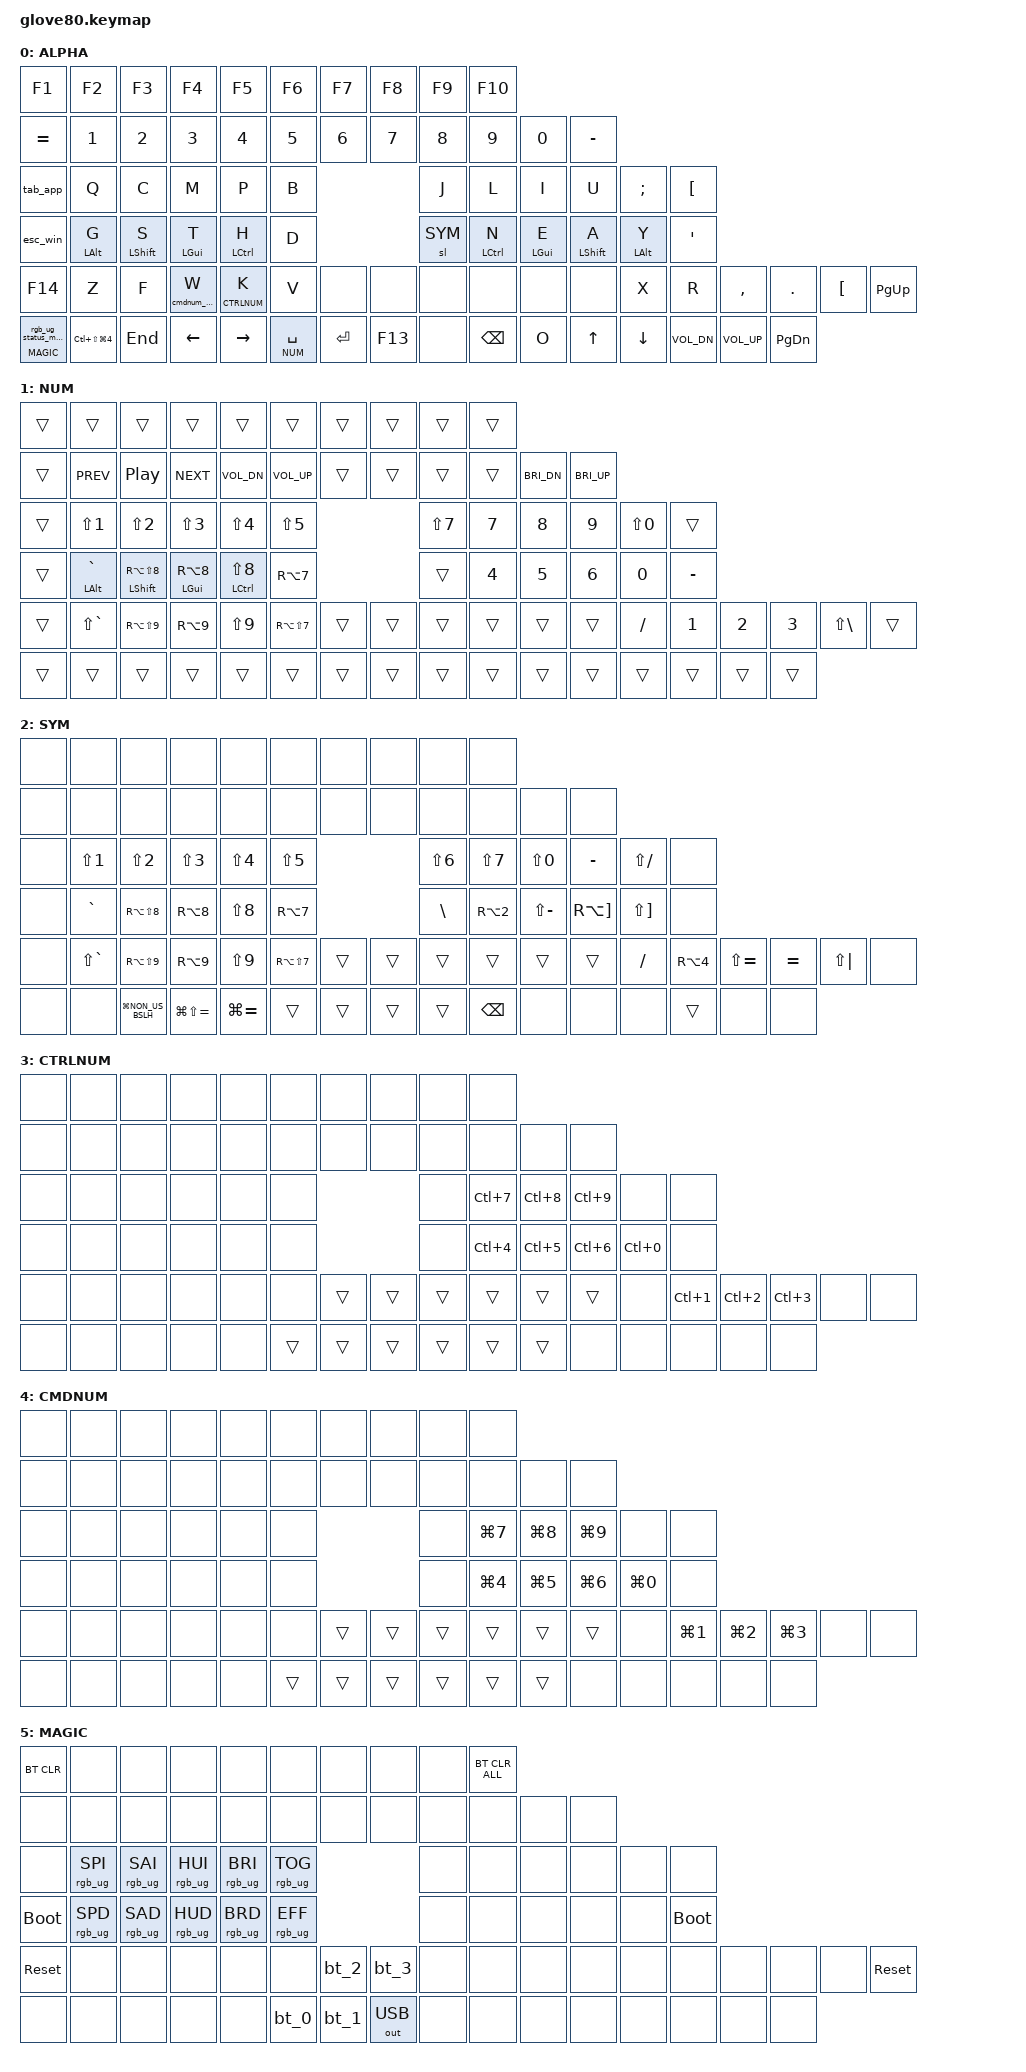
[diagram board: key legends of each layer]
/*
* Copyright (c) 2020 The ZMK Contributors
* Copyright (c) 2025 Innaworks Development Limited, trading as MoErgo
*
* SPDX-License-Identifier: MIT
*/


/* THIS FILE WAS GENERATED BY GLOVE80 LAYOUT EDITOR
*
* This file was generated automatically. You may or may not want to
* edit it directly.
*/

#include <behaviors.dtsi>
/* Include all behavior includes needed */
#include <dt-bindings/zmk/outputs.h>
#include <dt-bindings/zmk/keys.h>
#include <dt-bindings/zmk/bt.h>
#include <dt-bindings/zmk/rgb.h>

#define KSFT 57
#define KDOT 61
#define KCOMMA 60
#define KMINUS 58
#define KA 43
#define KB 27
#define KC 24
#define KD 39
#define KE 42
#define KF 48
#define KG 35
#define KH 38
#define KI 30
#define KJ 28
#define KK 50
#define KL 29
#define KM 25
#define KN 41
#define KO 74
#define KAUML 45
#define KP 26
#define KQ 23
#define KR 59
#define KS 36
#define KT 37
#define KU 31
#define KV 51
#define KW 49
#define KX 58
#define KY 44
#define KOUML 32
#define KARING 33
#define KZ 47
#define ARROWL 67 
#define ARROWR 68
#define KSPACE 69
#define KBSPC 73
#define KBSPC2 73
#define KDUP 74
#define KAPOS 999999

/* Automatically generated layer name #define */
#define ALPHA 0
#define NUM 1
#define SYM 2
#define CTRLNUM 3
#define CMDNUM 4
#define MAGIC 5

/* To deal with the situation where there is no Lower layer, to keep &lower happy */
#ifndef LAYER_Lower
#define LAYER_Lower 0
#endif

/* #define for key positions */
#define POS_LH_T2 53
#define POS_LH_T1 52
#define POS_LH_T3 54
#define POS_LH_T4 69
#define POS_LH_T5 70
#define POS_LH_T6 71
#define POS_LH_C1R2 15
#define POS_LH_C1R3 27
#define POS_LH_C1R4 39
#define POS_LH_C1R5 51
#define POS_LH_C2R1 4
#define POS_LH_C2R2 14
#define POS_LH_C2R3 26
#define POS_LH_C2R4 38
#define POS_LH_C2R5 50
#define POS_LH_C2R6 68
#define POS_LH_C3R1 3
#define POS_LH_C3R2 13
#define POS_LH_C3R3 25
#define POS_LH_C3R4 37
#define POS_LH_C3R5 49
#define POS_LH_C3R6 67
#define POS_LH_C4R1 2
#define POS_LH_C4R2 12
#define POS_LH_C4R3 24
#define POS_LH_C4R4 36
#define POS_LH_C4R5 48
#define POS_LH_C4R6 66
#define POS_LH_C5R1 1
#define POS_LH_C5R2 11
#define POS_LH_C5R3 23
#define POS_LH_C5R4 35
#define POS_LH_C5R5 47
#define POS_LH_C5R6 65
#define POS_LH_C6R1 0
#define POS_LH_C6R2 10
#define POS_LH_C6R3 22
#define POS_LH_C6R4 34
#define POS_LH_C6R5 46
#define POS_LH_C6R6 64
#define POS_RH_T1 57
#define POS_RH_T2 56
#define POS_RH_T3 55
#define POS_RH_T4 74
#define POS_RH_T5 73
#define POS_RH_T6 72
#define POS_RH_C1R2 16
#define POS_RH_C1R3 28
#define POS_RH_C1R4 40
#define POS_RH_C1R5 58
#define POS_RH_C2R1 5
#define POS_RH_C2R2 17
#define POS_RH_C2R3 29
#define POS_RH_C2R4 41
#define POS_RH_C2R5 59
#define POS_RH_C2R6 75
#define POS_RH_C3R1 6
#define POS_RH_C3R2 18
#define POS_RH_C3R3 30
#define POS_RH_C3R4 42
#define POS_RH_C3R5 60
#define POS_RH_C3R6 76
#define POS_RH_C4R1 7
#define POS_RH_C4R2 19
#define POS_RH_C4R3 31
#define POS_RH_C4R4 43
#define POS_RH_C4R5 61
#define POS_RH_C4R6 77
#define POS_RH_C5R1 8
#define POS_RH_C5R2 20
#define POS_RH_C5R3 32
#define POS_RH_C5R4 44
#define POS_RH_C5R5 62
#define POS_RH_C5R6 78
#define POS_RH_C6R1 9
#define POS_RH_C6R2 21
#define POS_RH_C6R3 33
#define POS_RH_C6R4 45
#define POS_RH_C6R5 63
#define POS_RH_C6R6 79


/* Physical positions: independent of whichever letters occupy these keys. */
#define HRM_LEFT_TARGETS 0 1 2 3 4 10 11 12 13 14 15 22 23 24 25 26 27 34 35 36 37 38 39 46 47 48 49 50 51 52 53 54 64 65 66 67 68 69 70 71
#define HRM_RIGHT_TARGETS 5 6 7 8 9 16 17 18 19 20 21 28 29 30 31 32 33 40 41 42 43 44 45 55 56 57 58 59 60 61 62 63 72 73 74 75 76 77 78 79

/* Time to select a symbol after releasing the one-shot key. */
&sl {
    release-after-ms = <2000>;
};

/ {
    underglow {
        compatible = "zmk,underglow";

        // Optional: default color when no layer is active
        color = <32 32 32>;  // Soft white or dim gray

        // Per-layer colors: layer 1 = green, layer 2 = blue
        layer-colors = <0 0 255>, <0 255 0>;
    };

    behaviors {
        // Cmd+Tab -> Alt+Tab (AeroSpace "next window on this desktop"; Karabiner
        // disables real Cmd+Tab). Cmd is swallowed, Shift passes through for reverse.
        tab_app: tab_app_switch {
            compatible = "zmk,behavior-mod-morph";
            #binding-cells = <0>;
            bindings = <&kp TAB>, <&kp LA(TAB)>;
            mods = <(MOD_LGUI|MOD_RGUI)>;
        };

        // Cmd+Esc -> Cmd+´ (macOS "next window of the same app"; ZMK EQUAL is the
        // ´ key on the Swedish layout). Cmd is kept; Shift passes through for reverse.
        // Space: tap = Space (Cmd+Space is plain: T3 threads on NixOS), hold = NUM. Holds only after a
        // short pause and only when the next key is one NUM uses (numpad, left-hand
        // symbols, media, brightness, thumbs), so typing never triggers it; retro-tap keeps a long
        // lone press a space. quick-tap 0: tap Space then hold it for a number works.
        lt_spc: layer_tap_space {
            compatible = "zmk,behavior-hold-tap";
            #binding-cells = <2>;
            flavor = "balanced";
            tapping-term-ms = <200>;
            quick-tap-ms = <0>;
            require-prior-idle-ms = <100>;
            retro-tap;
            bindings = <&mo>, <&kp>;
            hold-trigger-key-positions = <28 29 30 31 32 33 40 41 42 43 44 45 58 59 60 61 62 63 73 74 20 21 11 12 13 14 15 23 24 25 26 27 35 36 37 38 39 47 48 49 50 51>;
        };
        esc_win: esc_window_switch {
            compatible = "zmk,behavior-mod-morph";
            #binding-cells = <0>;
            bindings = <&kp ESC>, <&kp EQUAL>;
            mods = <(MOD_LGUI|MOD_RGUI)>;
            keep-mods = <(MOD_LGUI|MOD_RGUI)>;
        };

         mt_shift_caps: behavior_hold_tap {
            compatible = "zmk,behavior-hold-tap";
            #binding-cells = <2>;
            flavor = "balanced";
            require-prior-idle-ms = <150>;
            tapping-term-ms = <280>;
            quick-tap-ms = <175>;
            bindings = <&kp >, <&caps_word>;
        };

         ltl: layer_tap_left {
            compatible = "zmk,behavior-hold-tap";
            #binding-cells = <2>;
            // Balanced: a typing roll releases this key first, which forces a tap.
            // hold-preferred fired the layer on the NEXT key's press, so r->s hit Ctrl+2.
            flavor = "balanced";
            require-prior-idle-ms = <200>;
            tapping-term-ms = <200>;
            quick-tap-ms = <0>;
            bindings = <&mo>, <&kp>;
            // The right-hand numpad in CMDNUM/CTRLNUM.
            hold-trigger-key-positions = <29 30 31 41 42 43 44 59 60 61>;
        };

        // W: like ltl, but the hold also holds Cmd, so apps show their Cmd+digit
        // hints (T3 thread numbers) while W is down, before a digit is pressed.
        ltw: layer_tap_w {
            compatible = "zmk,behavior-hold-tap";
            #binding-cells = <2>;
            flavor = "balanced";
            require-prior-idle-ms = <200>;
            tapping-term-ms = <200>;
            quick-tap-ms = <0>;
            bindings = <&cmdnum_hold>, <&kp>;
            hold-trigger-key-positions = <29 30 31 41 42 43 44 59 60 61>;
        };

         hml: home_row_mod_left {
            compatible = "zmk,behavior-hold-tap";
            #binding-cells = <2>;
            // Balanced decides on the other key's release, so a long term costs
            // nothing on real shortcuts and shrinks the timer-expiry misfire window.
            flavor = "balanced";
            require-prior-idle-ms = <250>;
            tapping-term-ms = <300>;
            quick-tap-ms = <175>;
            bindings = <&kp>, <&kp>;
            hold-trigger-key-positions = < HRM_RIGHT_TARGETS >;
            hold-trigger-on-release;
        };
        hmr: home_row_mod_right {
            compatible = "zmk,behavior-hold-tap";
            #binding-cells = <2>;
            // hold-trigger-on-release is kept so two same-hand mods (Cmd+Shift+key)
            // still resolve; the cost is the timer hole, mitigated by the long term.
            flavor = "balanced";
            require-prior-idle-ms = <250>;
            tapping-term-ms = <300>;
            quick-tap-ms = <175>;
            bindings = <&kp>, <&kp>;
            hold-trigger-key-positions = < HRM_LEFT_TARGETS >;
            hold-trigger-on-release;
        };
        /* cyc_wrk: cycle_work_working { */
        /*     compatible = "chord-cycle,behavior-cycle-string"; */
        /*     #binding-cells = <1>; // Behavior now takes 1 parameter (list index) */
        /* }; */

        magic: magic {
            compatible = "zmk,behavior-hold-tap";
            label = "MAGIC_HOLD_TAP";
            #binding-cells = <2>;
            flavor = "tap-preferred";
            tapping-term-ms = <200>;
            bindings = <&mo>, <&rgb_ug_status_macro>;
        };

        // For the "layer" key, it'd nice to be able to use it as either a shift or a toggle.
        // Configure it as a tap dance, so the first tap (or hold) is a &mo and the second tap is a &to
        lower: lower {
            compatible = "zmk,behavior-tap-dance";
            label = "LAYER_TAP_DANCE";
            #binding-cells = <0>;
            tapping-term-ms = <200>;
            bindings = <&mo LAYER_Lower>, <&to LAYER_Lower>;
        };

        #ifdef BT_DISC_CMD
        bt_0: bt_0 {
            compatible = "zmk,behavior-tap-dance";
            label = "BT_0";
            #binding-cells = <0>;
            tapping-term-ms = <200>;
            bindings = <&bt_select_0>, <&bt BT_DISC 0>;
        };
        bt_1: bt_1 {
            compatible = "zmk,behavior-tap-dance";
            label = "BT_1";
            #binding-cells = <0>;
            tapping-term-ms = <200>;
            bindings = <&bt_select_1>, <&bt BT_DISC 1>;
        };
        bt_2: bt_2 {
            compatible = "zmk,behavior-tap-dance";
            label = "BT_2";
            #binding-cells = <0>;
            tapping-term-ms = <200>;
            bindings = <&bt_select_2>, <&bt BT_DISC 2>;
        };
        bt_3: bt_3 {
            compatible = "zmk,behavior-tap-dance";
            label = "BT_3";
            #binding-cells = <0>;
            tapping-term-ms = <200>;
            bindings = <&bt_select_3>, <&bt BT_DISC 3>;
        };
        #endif
    };

    macros {
        // Hold W: CMDNUM layer plus Cmd held, both until W is let go (ltw).
        cmdnum_hold: cmdnum_hold {
            label = "CMDNUM_HOLD";
            compatible = "zmk,behavior-macro";
            #binding-cells = <0>;
            wait-ms = <0>;
            tap-ms = <0>;
            bindings
                = <&macro_press &mo CMDNUM &kp LGUI>,
                <&macro_pause_for_release>,
                <&macro_release &mo CMDNUM &kp LGUI>;
        };

        rgb_ug_status_macro: rgb_ug_status_macro {
            label = "RGB_UG_STATUS";
            compatible = "zmk,behavior-macro";
            #binding-cells = <0>;
            bindings
                = <&rgb_ug RGB_STATUS>;
        };

        #ifdef BT_DISC_CMD
        bt_select_0: bt_select_0 {
            label = "BT_SELECT_0";
            compatible = "zmk,behavior-macro";
            #binding-cells = <0>;
            bindings
                = <&out OUT_BLE>,
                <&bt BT_SEL 0>;
        };
        bt_select_1: bt_select_1 {
            label = "BT_SELECT_1";
            compatible = "zmk,behavior-macro";
            #binding-cells = <0>;
            bindings
                = <&out OUT_BLE>,
                <&bt BT_SEL 1>;
        };
        bt_select_2: bt_select_2 {
            label = "BT_SELECT_2";
            compatible = "zmk,behavior-macro";
            #binding-cells = <0>;
            bindings
                = <&out OUT_BLE>,
                <&bt BT_SEL 2>;
        };
        bt_select_3: bt_select_3 {
            label = "BT_SELECT_3";
            compatible = "zmk,behavior-macro";
            #binding-cells = <0>;
            bindings
                = <&out OUT_BLE>,
                <&bt BT_SEL 3>;
        };
        #else
        bt_0: bt_0 {
            label = "BT_0";
            compatible = "zmk,behavior-macro";
            #binding-cells = <0>;
            bindings
                = <&out OUT_BLE>,
                <&bt BT_SEL 0>;
        };
        bt_1: bt_1 {
            label = "BT_1";
            compatible = "zmk,behavior-macro";
            #binding-cells = <0>;
            bindings
                = <&out OUT_BLE>,
                <&bt BT_SEL 1>;
        };
        bt_2: bt_2 {
            label = "BT_2";
            compatible = "zmk,behavior-macro";
            #binding-cells = <0>;
            bindings
                = <&out OUT_BLE>,
                <&bt BT_SEL 2>;
        };
        bt_3: bt_3 {
            label = "BT_3";
            compatible = "zmk,behavior-macro";
            #binding-cells = <0>;
            bindings
                = <&out OUT_BLE>,
                <&bt BT_SEL 3>;
        };
        #endif
    };

    combos {
        compatible = "zmk,combos";
        // Vol- and Vol+ (bottom row, right hand) together: mute / unmute
        mute_vol {
            timeout-ms = <50>;
            key-positions = <77 78>;
            layers = <ALPHA>;
            bindings = <&kp C_MUTE>;
        };
    };

    keymap {
        compatible = "zmk,keymap";

        ALPHA {
            bindings = <
                &kp F1    &kp F2   &kp F3    &kp F4     &kp F5                                                                                     &kp F6     &kp F7    &kp F8    &kp F9    &kp F10
                &kp EQUAL    &kp N1   &kp N2    &kp N3     &kp N4  &kp N5                                                                  &kp N6  &kp N7     &kp N8    &kp N9    &kp N0  &kp MINUS
                &tab_app    &kp Q    &kp C     &kp M      &kp P   &kp B                                                                      &kp J   &kp L      &kp I     &kp U    &kp SEMI   &kp LBKT
                &esc_win     &hml LALT G        &hml LSHIFT S     &hml LGUI T      &hml LCTRL H   &kp D                                                                      &sl SYM      &hmr LCTRL N      &hmr LGUI E     &hmr LSHIFT A     &hmr LALT Y    &kp SQT
                &kp F14     &kp Z    &kp F     &ltw 0 W      &ltl CTRLNUM K   &kp V  &none &none &none &none &none &none &kp X  &kp R  &kp COMMA   &kp DOT  &kp LBKT  &kp PG_UP
                &magic MAGIC  0 &kp LC(LS(LG(N4)))  &kp END  &kp LEFT  &kp RIGHT            &lt_spc NUM SPACE &kp RET   &kp F13               &none    &kp BSPC           &kp O                       &kp UP   &kp DOWN  &kp C_VOL_DN  &kp C_VOL_UP  &kp PG_DN
            >;
        };

        // Hold Space. Right: calculator numpad, operators where SYM has them.
        // Left: SYM's left half; the home row is still Alt/Shift/Cmd/Ctrl when held,
        // so Cmd+4 works whether Cmd or Space goes down first. The SYM key passes
        // through (SYM sits above NUM). Comma, period and colon: let go of Space.
        // Media on the left number row, brightness on the right one's last two keys.
        NUM {
            bindings = <
                &trans  &trans  &trans  &trans  &trans                                                                                  &trans  &trans  &trans  &trans  &trans
                &trans  &kp C_PREV  &kp C_PP  &kp C_NEXT  &kp C_VOL_DN  &kp C_VOL_UP                                     &trans  &trans  &trans  &trans  &kp C_BRI_DN  &kp C_BRI_UP
                &trans  &kp LS(N1)  &kp LS(N2)  &kp LS(N3)  &kp LS(N4)  &kp LS(N5)                                       &kp LS(N7)  &kp N7  &kp N8  &kp N9  &kp LS(N0)  &trans
                &trans  &hml LALT GRAVE  &hml LSHIFT RA(LS(N8))  &hml LGUI RA(N8)  &hml LCTRL LS(N8)  &kp RA(N7)          &trans  &kp N4  &kp N5  &kp N6  &kp N0  &kp MINUS
                &trans  &kp LS(GRAVE)  &kp RA(LS(N9))  &kp RA(N9)  &kp LS(N9)  &kp RA(LS(N7))  &trans  &trans  &trans  &trans  &trans  &trans  &kp FSLH  &kp N1  &kp N2  &kp N3  &kp LS(BSLH)  &trans
                &trans  &trans  &trans  &trans  &trans                  &trans  &trans  &trans  &trans  &trans  &trans         &trans  &trans  &trans  &trans  &trans
            >;
        };

        SYM {
            bindings = <
                &none                &none       &none       &none        &none                                                                                        &none          &none         &none         &none   &none
                &none                &none       &none       &none        &none                &none                                                       &none       &none          &none         &none         &none   &none
                &none           &kp LS(N1)  &kp LS(N2)  &kp LS(N3)   &kp LS(N4)           &kp LS(N5)                                                &kp LS(N6)  &kp LS(N7)     &kp LS(N0)     &kp MINUS         &kp LS(FSLH)   &none
                &none      &kp GRAVE  &kp RA(LS(N8))  &kp RA(N8)  &kp LS(N8)  &kp RA(N7)                                                   &kp BSLH  &kp RA(N2)  &kp LS(MINUS)  &kp RA(RBKT)  &kp LS(RBKT)   &none
                &none  &kp LS(GRAVE)  &kp RA(LS(N9))  &kp RA(N9)  &kp LS(N9)        &kp RA(LS(N7))  &trans  &trans  &trans  &trans  &trans  &trans    &kp FSLH  &kp RA(N4)  &kp LS(EQUAL)     &kp EQUAL  &kp LS(PIPE)   &none
                &none   &none  &kp LG(NON_US_BSLH)  &kp LG(LS(EQUAL))  &kp LG(EQUAL)                  &trans  &trans  &trans  &trans  &kp BSPC  &none                       &none          &none        &trans         &none   &none
            >;
        };

        // Hold K: Ctrl + right-hand numpad (workspaces).
        CTRLNUM {
            bindings = <
                &none &none &none &none &none &none &none &none &none &none
                &none &none &none &none &none &none &none &none &none &none &none &none
                &none &none &none &none &none &none &none &kp LC(N7) &kp LC(N8) &kp LC(N9) &none &none
                &none &none &none &none &none &none &none &kp LC(N4) &kp LC(N5) &kp LC(N6) &kp LC(N0) &none
                &none &none &none &none &none &none &trans &trans &trans &trans &trans &trans &none &kp LC(N1) &kp LC(N2) &kp LC(N3) &none &none
                &none &none &none &none &none &trans &trans &trans &trans &trans &trans &none &none &none &none &none
            >;
        };

        // Hold W: Cmd + right-hand numpad (tabs).
        CMDNUM {
            bindings = <
                &none &none &none &none &none &none &none &none &none &none
                &none &none &none &none &none &none &none &none &none &none &none &none
                &none &none &none &none &none &none &none &kp LG(N7) &kp LG(N8) &kp LG(N9) &none &none
                &none &none &none &none &none &none &none &kp LG(N4) &kp LG(N5) &kp LG(N6) &kp LG(N0) &none
                &none &none &none &none &none &none &trans &trans &trans &trans &trans &trans &none &kp LG(N1) &kp LG(N2) &kp LG(N3) &none &none
                &none &none &none &none &none &trans &trans &trans &trans &trans &trans &none &none &none &none &none
            >;
        };

        MAGIC {
            bindings = <
                &bt BT_CLR            &none            &none            &none            &none                                                                                  &none   &none   &none   &none  &bt BT_CLR_ALL
                &none            &none            &none            &none            &none            &none                                                         &none   &none   &none   &none   &none           &none
                &none  &rgb_ug RGB_SPI  &rgb_ug RGB_SAI  &rgb_ug RGB_HUI  &rgb_ug RGB_BRI  &rgb_ug RGB_TOG                                                         &none   &none   &none   &none   &none           &none
                &bootloader  &rgb_ug RGB_SPD  &rgb_ug RGB_SAD  &rgb_ug RGB_HUD  &rgb_ug RGB_BRD  &rgb_ug RGB_EFF                                                         &none   &none   &none   &none   &none     &bootloader
                &sys_reset            &none            &none            &none            &none            &none   &bt_2   &bt_3         &none   &none   &none   &none   &none   &none   &none   &none   &none      &sys_reset
                &none            &none            &none            &none            &none                    &bt_0   &bt_1  &out OUT_USB   &none   &none   &none           &none   &none   &none   &none           &none
            >;
        };

    };
};
